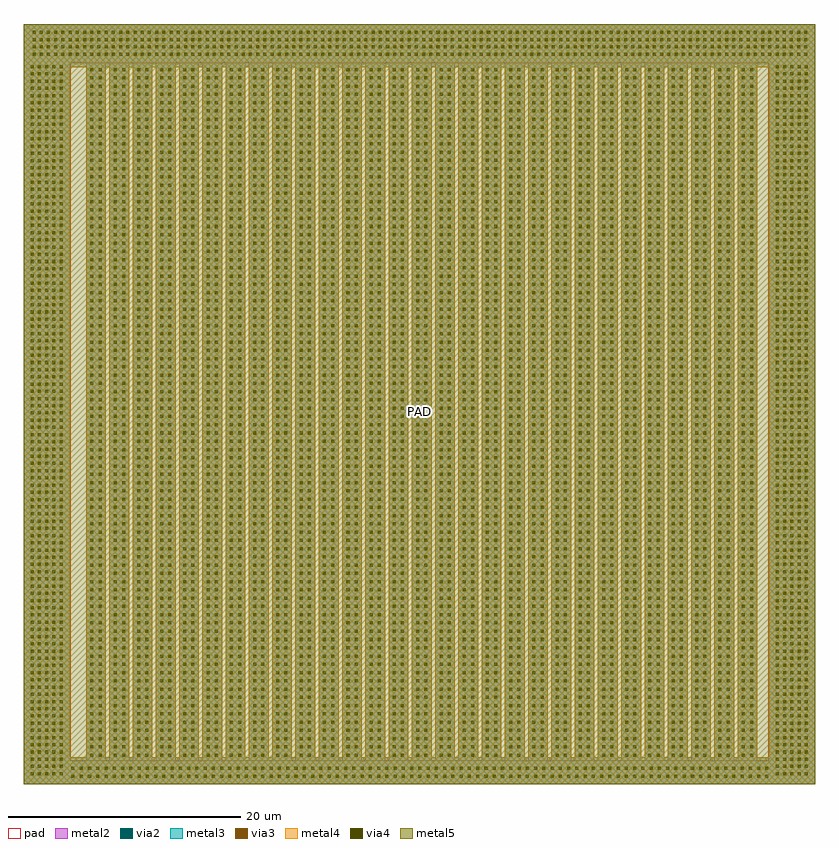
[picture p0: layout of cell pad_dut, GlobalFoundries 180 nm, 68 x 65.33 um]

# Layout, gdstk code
import gdstk
lib = gdstk.Library(unit=1e-6, precision=1e-09)
def R(c, l, rs):  # rectangles x0, y0, x1, y1
    for r in rs: c.add(gdstk.rectangle(r[:2], r[2:], *l))
def A(c, l, x, y, w, h, nx, ny, dx, dy):  # array of equal rectangles
    R(c, l, [(x+i*dx, y+j*dy, x+i*dx+w, y+j*dy+h) for i in range(nx) for j in range(ny)])
def P(c, l, *ps):  # polygons
    for p in ps: c.add(gdstk.Polygon(p, *l))
metal2 = (36, 0)
pad = (37, 0)
via2 = (38, 0)
via3 = (40, 0)
via4 = (41, 0)
metal3 = (42, 0)
metal4 = (46, 0)
metal5 = (81, 0)

pad_dut = lib.new_cell('pad_dut')
P(pad_dut, metal2, [(-2,0),(-2,62),(2,62),(2,2),(3.34,2),(3.34,62),(5.04,62),(5.04,2),(5.34,2),(5.34,62),(7.04,62),(7.04,2),(7.34,2),(7.34,62),(9.04,62),(9.04,2),(9.34,2),(9.34,62),(11.04,62),(11.04,2),(11.34,2),(11.34,62),(13.04,62),(13.04,2),(13.34,2),(13.34,62),(15.04,62),(15.04,2),(15.34,2),(15.34,62),(17.04,62),(17.04,2),(17.34,2),(17.34,62),(19.04,62),(19.04,2),(19.34,2),(19.34,62),(21.04,62),(21.04,2),(21.34,2),(21.34,62),(23.04,62),(23.04,2),(23.34,2),(23.34,62),(25.04,62),(25.04,2),(25.34,2),(25.34,62),(27.04,62),(27.04,2),(27.34,2),(27.34,62),(29.04,62),(29.04,2),(29.34,2),(29.34,62),(31.04,62),(31.04,2),(31.34,2),(31.34,62),(33.04,62),(33.04,2),(33.34,2),(33.34,62),(35.04,62),(35.04,2),(35.34,2),(35.34,62),(37.04,62),(37.04,2),(37.34,2),(37.34,62),(39.04,62),(39.04,2),(39.34,2),(39.34,62),(41.04,62),(41.04,2),(41.34,2),(41.34,62),(43.04,62),(43.04,2),(43.34,2),(43.34,62),(45.04,62),(45.04,2),(45.34,2),(45.34,62),(47.04,62),(47.04,2),(47.34,2),(47.34,62),(49.04,62),(49.04,2),(49.34,2),(49.34,62),(51.04,62),(51.04,2),(51.34,2),(51.34,62),(53.04,62),(53.04,2),(53.34,2),(53.34,62),(55.04,62),(55.04,2),(55.34,2),(55.34,62),(57.04,62),(57.04,2),(57.34,2),(57.34,62),(59.04,62),(59.04,2),(59.34,2),(59.34,62),(61.04,62),(61.04,2),(62,2),(62,62),(-2,62),(-2,65.325),(66,65.325),(66,0)])
R(pad_dut, pad, [(2,2,62,62)])
A(pad_dut, via2, 2.085, 0.53, 0.26, 0.26, 85, 2, 0.71, 0.71)
A(pad_dut, via2, -1.42, 0.76, 0.26, 0.26, 5, 99, 0.62, 0.62)
A(pad_dut, via2, 62.64, 0.76, 0.26, 0.26, 5, 99, 0.62, 0.62)
A(pad_dut, via2, 3.715, 2.35, 0.26, 0.26, 1, 84, 0, 0.71)
A(pad_dut, via2, 4.425, 2.35, 0.26, 0.26, 1, 84, 0, 0.71)
A(pad_dut, via2, 5.72, 2.35, 0.26, 0.26, 1, 84, 0, 0.71)
A(pad_dut, via2, 6.43, 2.35, 0.26, 0.26, 1, 84, 0, 0.71)
A(pad_dut, via2, 7.72, 2.35, 0.26, 0.26, 1, 84, 0, 0.71)
A(pad_dut, via2, 8.43, 2.35, 0.26, 0.26, 1, 84, 0, 0.71)
A(pad_dut, via2, 9.705, 2.35, 0.26, 0.26, 1, 84, 0, 0.71)
A(pad_dut, via2, 10.415, 2.35, 0.26, 0.26, 1, 84, 0, 0.71)
A(pad_dut, via2, 11.69, 2.35, 0.26, 0.26, 1, 84, 0, 0.71)
A(pad_dut, via2, 12.4, 2.35, 0.26, 0.26, 1, 84, 0, 0.71)
A(pad_dut, via2, 13.71, 2.35, 0.26, 0.26, 1, 84, 0, 0.71)
A(pad_dut, via2, 14.42, 2.35, 0.26, 0.26, 1, 84, 0, 0.71)
A(pad_dut, via2, 15.69, 2.35, 0.26, 0.26, 1, 84, 0, 0.71)
A(pad_dut, via2, 16.4, 2.35, 0.26, 0.26, 1, 84, 0, 0.71)
A(pad_dut, via2, 17.69, 2.35, 0.26, 0.26, 1, 84, 0, 0.71)
A(pad_dut, via2, 18.4, 2.35, 0.26, 0.26, 1, 84, 0, 0.71)
A(pad_dut, via2, 19.675, 2.35, 0.26, 0.26, 1, 84, 0, 0.71)
A(pad_dut, via2, 20.385, 2.35, 0.26, 0.26, 1, 84, 0, 0.71)
A(pad_dut, via2, 21.7, 2.35, 0.26, 0.26, 1, 84, 0, 0.71)
A(pad_dut, via2, 22.41, 2.35, 0.26, 0.26, 1, 84, 0, 0.71)
A(pad_dut, via2, 23.7, 2.35, 0.26, 0.26, 1, 84, 0, 0.71)
A(pad_dut, via2, 24.41, 2.35, 0.26, 0.26, 1, 84, 0, 0.71)
A(pad_dut, via2, 25.725, 2.35, 0.26, 0.26, 1, 84, 0, 0.71)
A(pad_dut, via2, 26.435, 2.35, 0.26, 0.26, 1, 84, 0, 0.71)
A(pad_dut, via2, 27.71, 2.35, 0.26, 0.26, 1, 84, 0, 0.71)
A(pad_dut, via2, 28.42, 2.35, 0.26, 0.26, 1, 84, 0, 0.71)
A(pad_dut, via2, 29.695, 2.35, 0.26, 0.26, 1, 84, 0, 0.71)
A(pad_dut, via2, 30.405, 2.35, 0.26, 0.26, 1, 84, 0, 0.71)
A(pad_dut, via2, 31.71, 2.35, 0.26, 0.26, 1, 84, 0, 0.71)
A(pad_dut, via2, 32.42, 2.35, 0.26, 0.26, 1, 84, 0, 0.71)
A(pad_dut, via2, 33.72, 2.35, 0.26, 0.26, 1, 84, 0, 0.71)
A(pad_dut, via2, 34.43, 2.35, 0.26, 0.26, 1, 84, 0, 0.71)
A(pad_dut, via2, 35.735, 2.35, 0.26, 0.26, 1, 84, 0, 0.71)
A(pad_dut, via2, 36.445, 2.35, 0.26, 0.26, 1, 84, 0, 0.71)
A(pad_dut, via2, 37.705, 2.35, 0.26, 0.26, 1, 84, 0, 0.71)
A(pad_dut, via2, 38.415, 2.35, 0.26, 0.26, 1, 84, 0, 0.71)
A(pad_dut, via2, 39.71, 2.35, 0.26, 0.26, 1, 84, 0, 0.71)
A(pad_dut, via2, 40.42, 2.35, 0.26, 0.26, 1, 84, 0, 0.71)
A(pad_dut, via2, 41.71, 2.35, 0.26, 0.26, 1, 84, 0, 0.71)
A(pad_dut, via2, 42.42, 2.35, 0.26, 0.26, 1, 84, 0, 0.71)
A(pad_dut, via2, 43.695, 2.35, 0.26, 0.26, 1, 84, 0, 0.71)
A(pad_dut, via2, 44.405, 2.35, 0.26, 0.26, 1, 84, 0, 0.71)
A(pad_dut, via2, 45.68, 2.35, 0.26, 0.26, 1, 84, 0, 0.71)
A(pad_dut, via2, 46.39, 2.35, 0.26, 0.26, 1, 84, 0, 0.71)
A(pad_dut, via2, 47.7, 2.35, 0.26, 0.26, 1, 84, 0, 0.71)
A(pad_dut, via2, 48.41, 2.35, 0.26, 0.26, 1, 84, 0, 0.71)
A(pad_dut, via2, 49.68, 2.35, 0.26, 0.26, 1, 84, 0, 0.71)
A(pad_dut, via2, 50.39, 2.35, 0.26, 0.26, 1, 84, 0, 0.71)
A(pad_dut, via2, 51.68, 2.35, 0.26, 0.26, 1, 84, 0, 0.71)
A(pad_dut, via2, 52.39, 2.35, 0.26, 0.26, 1, 84, 0, 0.71)
A(pad_dut, via2, 53.665, 2.35, 0.26, 0.26, 1, 84, 0, 0.71)
A(pad_dut, via2, 54.375, 2.35, 0.26, 0.26, 1, 84, 0, 0.71)
A(pad_dut, via2, 55.69, 2.35, 0.26, 0.26, 1, 84, 0, 0.71)
A(pad_dut, via2, 56.4, 2.35, 0.26, 0.26, 1, 84, 0, 0.71)
A(pad_dut, via2, 57.69, 2.35, 0.26, 0.26, 1, 84, 0, 0.71)
A(pad_dut, via2, 58.4, 2.35, 0.26, 0.26, 1, 84, 0, 0.71)
A(pad_dut, via2, 59.715, 2.35, 0.26, 0.26, 1, 84, 0, 0.71)
A(pad_dut, via2, 60.425, 2.35, 0.26, 0.26, 1, 84, 0, 0.71)
A(pad_dut, via2, -1.26, 62.615, 0.26, 0.26, 108, 4, 0.62, 0.62)
A(pad_dut, via3, 2.085, 0.53, 0.26, 0.26, 85, 2, 0.71, 0.71)
A(pad_dut, via3, -1.42, 0.76, 0.26, 0.26, 5, 99, 0.62, 0.62)
A(pad_dut, via3, 62.64, 0.76, 0.26, 0.26, 5, 99, 0.62, 0.62)
A(pad_dut, via3, 3.715, 2.35, 0.26, 0.26, 1, 84, 0, 0.71)
A(pad_dut, via3, 4.425, 2.35, 0.26, 0.26, 1, 84, 0, 0.71)
A(pad_dut, via3, 5.72, 2.35, 0.26, 0.26, 1, 84, 0, 0.71)
A(pad_dut, via3, 6.43, 2.35, 0.26, 0.26, 1, 84, 0, 0.71)
A(pad_dut, via3, 7.72, 2.35, 0.26, 0.26, 1, 84, 0, 0.71)
A(pad_dut, via3, 8.43, 2.35, 0.26, 0.26, 1, 84, 0, 0.71)
A(pad_dut, via3, 9.705, 2.35, 0.26, 0.26, 1, 84, 0, 0.71)
A(pad_dut, via3, 10.415, 2.35, 0.26, 0.26, 1, 84, 0, 0.71)
A(pad_dut, via3, 11.69, 2.35, 0.26, 0.26, 1, 84, 0, 0.71)
A(pad_dut, via3, 12.4, 2.35, 0.26, 0.26, 1, 84, 0, 0.71)
A(pad_dut, via3, 13.71, 2.35, 0.26, 0.26, 1, 84, 0, 0.71)
A(pad_dut, via3, 14.42, 2.35, 0.26, 0.26, 1, 84, 0, 0.71)
A(pad_dut, via3, 15.69, 2.35, 0.26, 0.26, 1, 84, 0, 0.71)
A(pad_dut, via3, 16.4, 2.35, 0.26, 0.26, 1, 84, 0, 0.71)
A(pad_dut, via3, 17.69, 2.35, 0.26, 0.26, 1, 84, 0, 0.71)
A(pad_dut, via3, 18.4, 2.35, 0.26, 0.26, 1, 84, 0, 0.71)
A(pad_dut, via3, 19.675, 2.35, 0.26, 0.26, 1, 84, 0, 0.71)
A(pad_dut, via3, 20.385, 2.35, 0.26, 0.26, 1, 84, 0, 0.71)
A(pad_dut, via3, 21.7, 2.35, 0.26, 0.26, 1, 84, 0, 0.71)
A(pad_dut, via3, 22.41, 2.35, 0.26, 0.26, 1, 84, 0, 0.71)
A(pad_dut, via3, 23.7, 2.35, 0.26, 0.26, 1, 84, 0, 0.71)
A(pad_dut, via3, 24.41, 2.35, 0.26, 0.26, 1, 84, 0, 0.71)
A(pad_dut, via3, 25.725, 2.35, 0.26, 0.26, 1, 84, 0, 0.71)
A(pad_dut, via3, 26.435, 2.35, 0.26, 0.26, 1, 84, 0, 0.71)
A(pad_dut, via3, 27.71, 2.35, 0.26, 0.26, 1, 84, 0, 0.71)
A(pad_dut, via3, 28.42, 2.35, 0.26, 0.26, 1, 84, 0, 0.71)
A(pad_dut, via3, 29.695, 2.35, 0.26, 0.26, 1, 84, 0, 0.71)
A(pad_dut, via3, 30.405, 2.35, 0.26, 0.26, 1, 84, 0, 0.71)
A(pad_dut, via3, 31.71, 2.35, 0.26, 0.26, 1, 84, 0, 0.71)
A(pad_dut, via3, 32.42, 2.35, 0.26, 0.26, 1, 84, 0, 0.71)
A(pad_dut, via3, 33.72, 2.35, 0.26, 0.26, 1, 84, 0, 0.71)
A(pad_dut, via3, 34.43, 2.35, 0.26, 0.26, 1, 84, 0, 0.71)
A(pad_dut, via3, 35.735, 2.35, 0.26, 0.26, 1, 84, 0, 0.71)
A(pad_dut, via3, 36.445, 2.35, 0.26, 0.26, 1, 84, 0, 0.71)
A(pad_dut, via3, 37.705, 2.35, 0.26, 0.26, 1, 84, 0, 0.71)
A(pad_dut, via3, 38.415, 2.35, 0.26, 0.26, 1, 84, 0, 0.71)
A(pad_dut, via3, 39.71, 2.35, 0.26, 0.26, 1, 84, 0, 0.71)
A(pad_dut, via3, 40.42, 2.35, 0.26, 0.26, 1, 84, 0, 0.71)
A(pad_dut, via3, 41.71, 2.35, 0.26, 0.26, 1, 84, 0, 0.71)
A(pad_dut, via3, 42.42, 2.35, 0.26, 0.26, 1, 84, 0, 0.71)
A(pad_dut, via3, 43.695, 2.35, 0.26, 0.26, 1, 84, 0, 0.71)
A(pad_dut, via3, 44.405, 2.35, 0.26, 0.26, 1, 84, 0, 0.71)
A(pad_dut, via3, 45.68, 2.35, 0.26, 0.26, 1, 84, 0, 0.71)
A(pad_dut, via3, 46.39, 2.35, 0.26, 0.26, 1, 84, 0, 0.71)
A(pad_dut, via3, 47.7, 2.35, 0.26, 0.26, 1, 84, 0, 0.71)
A(pad_dut, via3, 48.41, 2.35, 0.26, 0.26, 1, 84, 0, 0.71)
A(pad_dut, via3, 49.68, 2.35, 0.26, 0.26, 1, 84, 0, 0.71)
A(pad_dut, via3, 50.39, 2.35, 0.26, 0.26, 1, 84, 0, 0.71)
A(pad_dut, via3, 51.68, 2.35, 0.26, 0.26, 1, 84, 0, 0.71)
A(pad_dut, via3, 52.39, 2.35, 0.26, 0.26, 1, 84, 0, 0.71)
A(pad_dut, via3, 53.665, 2.35, 0.26, 0.26, 1, 84, 0, 0.71)
A(pad_dut, via3, 54.375, 2.35, 0.26, 0.26, 1, 84, 0, 0.71)
A(pad_dut, via3, 55.69, 2.35, 0.26, 0.26, 1, 84, 0, 0.71)
A(pad_dut, via3, 56.4, 2.35, 0.26, 0.26, 1, 84, 0, 0.71)
A(pad_dut, via3, 57.69, 2.35, 0.26, 0.26, 1, 84, 0, 0.71)
A(pad_dut, via3, 58.4, 2.35, 0.26, 0.26, 1, 84, 0, 0.71)
A(pad_dut, via3, 59.715, 2.35, 0.26, 0.26, 1, 84, 0, 0.71)
A(pad_dut, via3, 60.425, 2.35, 0.26, 0.26, 1, 84, 0, 0.71)
A(pad_dut, via3, -1.26, 62.615, 0.26, 0.26, 108, 4, 0.62, 0.62)
A(pad_dut, via4, 2.085, 0.53, 0.26, 0.26, 85, 2, 0.71, 0.71)
A(pad_dut, via4, -1.42, 0.76, 0.26, 0.26, 5, 99, 0.62, 0.62)
A(pad_dut, via4, 62.64, 0.76, 0.26, 0.26, 5, 99, 0.62, 0.62)
A(pad_dut, via4, 3.715, 2.35, 0.26, 0.26, 1, 84, 0, 0.71)
A(pad_dut, via4, 4.425, 2.35, 0.26, 0.26, 1, 84, 0, 0.71)
A(pad_dut, via4, 5.72, 2.35, 0.26, 0.26, 1, 84, 0, 0.71)
A(pad_dut, via4, 6.43, 2.35, 0.26, 0.26, 1, 84, 0, 0.71)
A(pad_dut, via4, 7.72, 2.35, 0.26, 0.26, 1, 84, 0, 0.71)
A(pad_dut, via4, 8.43, 2.35, 0.26, 0.26, 1, 84, 0, 0.71)
A(pad_dut, via4, 9.705, 2.35, 0.26, 0.26, 1, 84, 0, 0.71)
A(pad_dut, via4, 10.415, 2.35, 0.26, 0.26, 1, 84, 0, 0.71)
A(pad_dut, via4, 11.69, 2.35, 0.26, 0.26, 1, 84, 0, 0.71)
A(pad_dut, via4, 12.4, 2.35, 0.26, 0.26, 1, 84, 0, 0.71)
A(pad_dut, via4, 13.71, 2.35, 0.26, 0.26, 1, 84, 0, 0.71)
A(pad_dut, via4, 14.42, 2.35, 0.26, 0.26, 1, 84, 0, 0.71)
A(pad_dut, via4, 15.69, 2.35, 0.26, 0.26, 1, 84, 0, 0.71)
A(pad_dut, via4, 16.4, 2.35, 0.26, 0.26, 1, 84, 0, 0.71)
A(pad_dut, via4, 17.69, 2.35, 0.26, 0.26, 1, 84, 0, 0.71)
A(pad_dut, via4, 18.4, 2.35, 0.26, 0.26, 1, 84, 0, 0.71)
A(pad_dut, via4, 19.675, 2.35, 0.26, 0.26, 1, 84, 0, 0.71)
A(pad_dut, via4, 20.385, 2.35, 0.26, 0.26, 1, 84, 0, 0.71)
A(pad_dut, via4, 21.7, 2.35, 0.26, 0.26, 1, 84, 0, 0.71)
A(pad_dut, via4, 22.41, 2.35, 0.26, 0.26, 1, 84, 0, 0.71)
A(pad_dut, via4, 23.7, 2.35, 0.26, 0.26, 1, 84, 0, 0.71)
A(pad_dut, via4, 24.41, 2.35, 0.26, 0.26, 1, 84, 0, 0.71)
A(pad_dut, via4, 25.725, 2.35, 0.26, 0.26, 1, 84, 0, 0.71)
A(pad_dut, via4, 26.435, 2.35, 0.26, 0.26, 1, 84, 0, 0.71)
A(pad_dut, via4, 27.71, 2.35, 0.26, 0.26, 1, 84, 0, 0.71)
A(pad_dut, via4, 28.42, 2.35, 0.26, 0.26, 1, 84, 0, 0.71)
A(pad_dut, via4, 29.695, 2.35, 0.26, 0.26, 1, 84, 0, 0.71)
A(pad_dut, via4, 30.405, 2.35, 0.26, 0.26, 1, 84, 0, 0.71)
A(pad_dut, via4, 31.71, 2.35, 0.26, 0.26, 1, 84, 0, 0.71)
A(pad_dut, via4, 32.42, 2.35, 0.26, 0.26, 1, 84, 0, 0.71)
A(pad_dut, via4, 33.72, 2.35, 0.26, 0.26, 1, 84, 0, 0.71)
A(pad_dut, via4, 34.43, 2.35, 0.26, 0.26, 1, 84, 0, 0.71)
A(pad_dut, via4, 35.735, 2.35, 0.26, 0.26, 1, 84, 0, 0.71)
A(pad_dut, via4, 36.445, 2.35, 0.26, 0.26, 1, 84, 0, 0.71)
A(pad_dut, via4, 37.705, 2.35, 0.26, 0.26, 1, 84, 0, 0.71)
A(pad_dut, via4, 38.415, 2.35, 0.26, 0.26, 1, 84, 0, 0.71)
A(pad_dut, via4, 39.71, 2.35, 0.26, 0.26, 1, 84, 0, 0.71)
A(pad_dut, via4, 40.42, 2.35, 0.26, 0.26, 1, 84, 0, 0.71)
A(pad_dut, via4, 41.71, 2.35, 0.26, 0.26, 1, 84, 0, 0.71)
A(pad_dut, via4, 42.42, 2.35, 0.26, 0.26, 1, 84, 0, 0.71)
A(pad_dut, via4, 43.695, 2.35, 0.26, 0.26, 1, 84, 0, 0.71)
A(pad_dut, via4, 44.405, 2.35, 0.26, 0.26, 1, 84, 0, 0.71)
A(pad_dut, via4, 45.68, 2.35, 0.26, 0.26, 1, 84, 0, 0.71)
A(pad_dut, via4, 46.39, 2.35, 0.26, 0.26, 1, 84, 0, 0.71)
A(pad_dut, via4, 47.7, 2.35, 0.26, 0.26, 1, 84, 0, 0.71)
A(pad_dut, via4, 48.41, 2.35, 0.26, 0.26, 1, 84, 0, 0.71)
A(pad_dut, via4, 49.68, 2.35, 0.26, 0.26, 1, 84, 0, 0.71)
A(pad_dut, via4, 50.39, 2.35, 0.26, 0.26, 1, 84, 0, 0.71)
A(pad_dut, via4, 51.68, 2.35, 0.26, 0.26, 1, 84, 0, 0.71)
A(pad_dut, via4, 52.39, 2.35, 0.26, 0.26, 1, 84, 0, 0.71)
A(pad_dut, via4, 53.665, 2.35, 0.26, 0.26, 1, 84, 0, 0.71)
A(pad_dut, via4, 54.375, 2.35, 0.26, 0.26, 1, 84, 0, 0.71)
A(pad_dut, via4, 55.69, 2.35, 0.26, 0.26, 1, 84, 0, 0.71)
A(pad_dut, via4, 56.4, 2.35, 0.26, 0.26, 1, 84, 0, 0.71)
A(pad_dut, via4, 57.69, 2.35, 0.26, 0.26, 1, 84, 0, 0.71)
A(pad_dut, via4, 58.4, 2.35, 0.26, 0.26, 1, 84, 0, 0.71)
A(pad_dut, via4, 59.715, 2.35, 0.26, 0.26, 1, 84, 0, 0.71)
A(pad_dut, via4, 60.425, 2.35, 0.26, 0.26, 1, 84, 0, 0.71)
A(pad_dut, via4, -1.26, 62.615, 0.26, 0.26, 108, 4, 0.62, 0.62)
P(pad_dut, metal3, [(-2,0),(-2,61.6),(2,61.6),(2,2.29),(3.34,2.29),(3.34,61.6),(5.04,61.6),(5.04,2.29),(5.34,2.29),(5.34,61.6),(7.04,61.6),(7.04,2.29),(7.34,2.29),(7.34,61.6),(9.04,61.6),(9.04,2.29),(9.34,2.29),(9.34,61.6),(11.04,61.6),(11.04,2.29),(11.34,2.29),(11.34,61.6),(13.04,61.6),(13.04,2.29),(13.34,2.29),(13.34,61.6),(15.04,61.6),(15.04,2.29),(15.34,2.29),(15.34,61.6),(17.04,61.6),(17.04,2.29),(17.34,2.29),(17.34,61.6),(19.04,61.6),(19.04,2.29),(19.34,2.29),(19.34,61.6),(21.04,61.6),(21.04,2.29),(21.34,2.29),(21.34,61.6),(23.04,61.6),(23.04,2.29),(23.34,2.29),(23.34,61.6),(25.04,61.6),(25.04,2.29),(25.34,2.29),(25.34,61.6),(27.04,61.6),(27.04,2.29),(27.34,2.29),(27.34,61.6),(29.04,61.6),(29.04,2.29),(29.34,2.29),(29.34,61.6),(31.04,61.6),(31.04,2.29),(31.34,2.29),(31.34,61.6),(33.04,61.6),(33.04,2.29),(33.34,2.29),(33.34,61.6),(35.04,61.6),(35.04,2.29),(35.34,2.29),(35.34,61.6),(37.04,61.6),(37.04,2.29),(37.34,2.29),(37.34,61.6),(39.04,61.6),(39.04,2.29),(39.34,2.29),(39.34,61.6),(41.04,61.6),(41.04,2.29),(41.34,2.29),(41.34,61.6),(43.04,61.6),(43.04,2.29),(43.34,2.29),(43.34,61.6),(45.04,61.6),(45.04,2.29),(45.34,2.29),(45.34,61.6),(47.04,61.6),(47.04,2.29),(47.34,2.29),(47.34,61.6),(49.04,61.6),(49.04,2.29),(49.34,2.29),(49.34,61.6),(51.04,61.6),(51.04,2.29),(51.34,2.29),(51.34,61.6),(53.04,61.6),(53.04,2.29),(53.34,2.29),(53.34,61.6),(55.04,61.6),(55.04,2.29),(55.34,2.29),(55.34,61.6),(57.04,61.6),(57.04,2.29),(57.34,2.29),(57.34,61.6),(59.04,61.6),(59.04,2.29),(59.34,2.29),(59.34,61.6),(61.04,61.6),(61.04,2.29),(62,2.29),(62,61.6),(-2,61.6),(-2,65.325),(66,65.325),(66,0)])
P(pad_dut, metal4, [(-2,0),(-2,61.6),(2,61.6),(2,2.29),(3.34,2.29),(3.34,61.6),(5.04,61.6),(5.04,2.29),(5.34,2.29),(5.34,61.6),(7.04,61.6),(7.04,2.29),(7.34,2.29),(7.34,61.6),(9.04,61.6),(9.04,2.29),(9.34,2.29),(9.34,61.6),(11.04,61.6),(11.04,2.29),(11.34,2.29),(11.34,61.6),(13.04,61.6),(13.04,2.29),(13.34,2.29),(13.34,61.6),(15.04,61.6),(15.04,2.29),(15.34,2.29),(15.34,61.6),(17.04,61.6),(17.04,2.29),(17.34,2.29),(17.34,61.6),(19.04,61.6),(19.04,2.29),(19.34,2.29),(19.34,61.6),(21.04,61.6),(21.04,2.29),(21.34,2.29),(21.34,61.6),(23.04,61.6),(23.04,2.29),(23.34,2.29),(23.34,61.6),(25.04,61.6),(25.04,2.29),(25.34,2.29),(25.34,61.6),(27.04,61.6),(27.04,2.29),(27.34,2.29),(27.34,61.6),(29.04,61.6),(29.04,2.29),(29.34,2.29),(29.34,61.6),(31.04,61.6),(31.04,2.29),(31.34,2.29),(31.34,61.6),(33.04,61.6),(33.04,2.29),(33.34,2.29),(33.34,61.6),(35.04,61.6),(35.04,2.29),(35.34,2.29),(35.34,61.6),(37.04,61.6),(37.04,2.29),(37.34,2.29),(37.34,61.6),(39.04,61.6),(39.04,2.29),(39.34,2.29),(39.34,61.6),(41.04,61.6),(41.04,2.29),(41.34,2.29),(41.34,61.6),(43.04,61.6),(43.04,2.29),(43.34,2.29),(43.34,61.6),(45.04,61.6),(45.04,2.29),(45.34,2.29),(45.34,61.6),(47.04,61.6),(47.04,2.29),(47.34,2.29),(47.34,61.6),(49.04,61.6),(49.04,2.29),(49.34,2.29),(49.34,61.6),(51.04,61.6),(51.04,2.29),(51.34,2.29),(51.34,61.6),(53.04,61.6),(53.04,2.29),(53.34,2.29),(53.34,61.6),(55.04,61.6),(55.04,2.29),(55.34,2.29),(55.34,61.6),(57.04,61.6),(57.04,2.29),(57.34,2.29),(57.34,61.6),(59.04,61.6),(59.04,2.29),(59.34,2.29),(59.34,61.6),(61.04,61.6),(61.04,2.29),(62,2.29),(62,61.6),(-2,61.6),(-2,65.325),(66,65.325),(66,0)])
R(pad_dut, metal5, [(-2,0,66,65.325)])
pad_dut.add(gdstk.Label('PAD', (32,32), layer=81, texttype=10))

lib.write_gds('pad_dut.gds')
